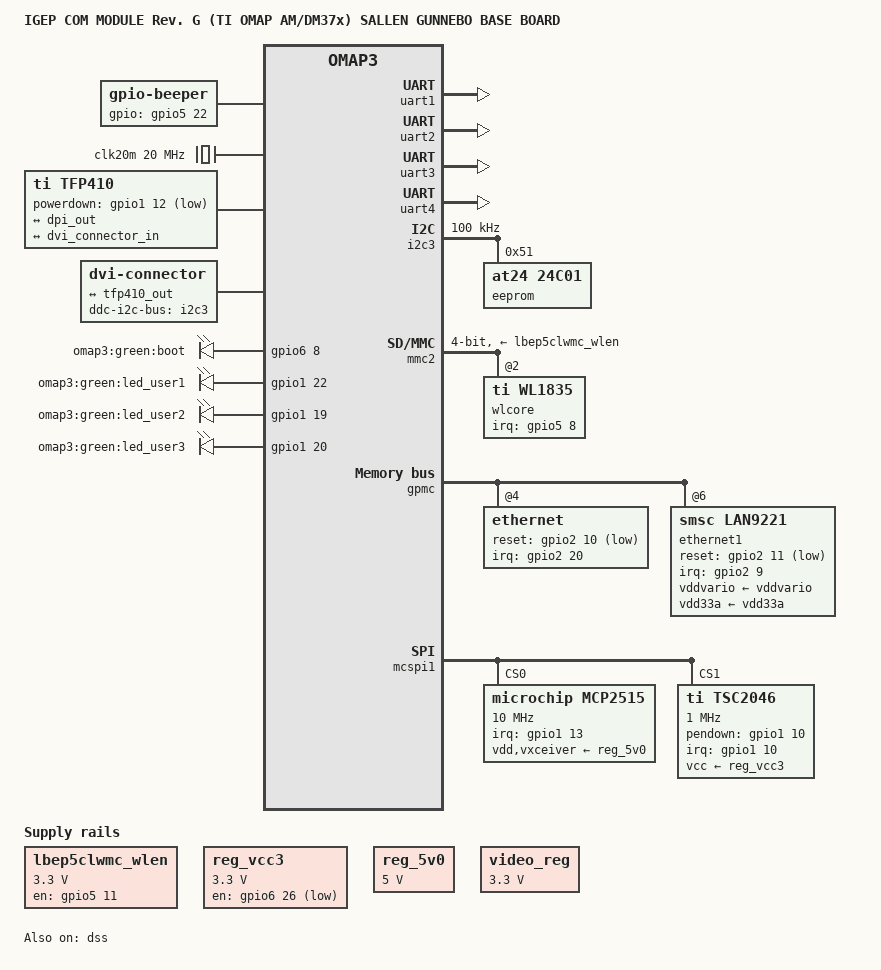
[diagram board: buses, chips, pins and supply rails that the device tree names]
/*
 * Device Tree Source for IGEP COM MODULE Rev. G (TI OMAP AM/DM37x) with SALLEN GUNNEBO BASE BOARD
 *
 * Copyright (C) 2019 Jose Miguel Sanchez Sanabria <jsanabria@iseebcn.com>
 *
 * This program is free software; you can redistribute it and/or modify
 * it under the terms of the GNU General Public License version 2 as
 * published by the Free Software Foundation.
 */

#include "omap3-igep0030-common.dtsi"
#include "omap-gpmc-smsc9221.dtsi"


/ {
	model = "IGEP COM MODULE Rev. G (TI OMAP AM/DM37x) SALLEN GUNNEBO BASE BOARD";
	compatible = "isee,omap3-igep0030-rev-g", "ti,omap36xx", "ti,omap3";

	/* Regulator to trigger the WL_EN signal of the Wifi module */
	lbep5clwmc_wlen: regulator-lbep5clwmc-wlen {
		compatible = "regulator-fixed";
		regulator-name = "WIFI_WL_EN";
		regulator-min-microvolt = <3300000>;
		regulator-max-microvolt = <3300000>;
		gpio = <&gpio5 11 GPIO_ACTIVE_HIGH>;		/* gpio_139 - WL_EN */
		enable-active-high;
	};

	reg_vcc3: vcc3 {
		compatible = "regulator-fixed";
		regulator-name = "3V3_LCD_EN";
		regulator-min-microvolt = <3300000>;
		regulator-max-microvolt = <3300000>;
		gpio = <&gpio6 26 GPIO_ACTIVE_LOW>;		/* gpio_186 - LCD_EN */
		regulator-always-on;
	};


	reg_5v0: vcc5 {
		compatible = "regulator-fixed";
		regulator-name = "5V";
		regulator-min-microvolt = <5000000>;
		regulator-max-microvolt = <5000000>;
	};


	video_reg: video_reg {
		compatible = "regulator-fixed";
		regulator-name = "fixed-supply";
		regulator-min-microvolt = <3300000>;
		regulator-max-microvolt = <3300000>;
	};

	beeper: beeper {
		/* 4KHz Piezoelectric buzzer */
		compatible = "gpio-beeper";
		pinctrl-0 = <&pmxbeeper_pins>;
		pinctrl-names = "default";
		gpios = <&gpio5 22 GPIO_ACTIVE_HIGH>;	/* gpio_150 - BUZZER_ON */
	};

	clk20m: clk20m {
		compatible = "fixed-clock";
		#clock-cells = <0>;
		clock-frequency = <20000000>;
	};

	tfp410: encoder {
		compatible = "ti,tfp410";
		pinctrl-0 = <&tfp410_pins>;
		powerdown-gpios = <&gpio1 12 GPIO_ACTIVE_LOW>; /* gpio_12 - DVI_PUP */

		ports {
			#address-cells = <1>;
			#size-cells = <0>;

			port@0 {
				reg = <0>;

				tfp410_in: endpoint {
					remote-endpoint = <&dpi_out>;
				};
			};

			port@1 {
				reg = <1>;

				tfp410_out: endpoint {
					remote-endpoint = <&dvi_connector_in>;
				};
			};
		};
	};

	dvi0: connector {
		compatible = "dvi-connector";
		label = "dvi";

		digital;

		ddc-i2c-bus = <&i2c3>;

		port {
			dvi_connector_in: endpoint {
				remote-endpoint = <&tfp410_out>;
			};
		};
	};


};

&omap3_pmx_core {
	pinctrl-names = "default";
	pinctrl-0 = <
		&dssdpi_pins
		&canreset_pins
		&lcdenable_pins
		&debug1_pins
		&dinput1_pins
	>;

	dssdpi_pins: pinmux_dssdpi_pins {
		pinctrl-single,pins = <
			OMAP3_CORE1_IOPAD(0x20d4, PIN_OUTPUT | MUX_MODE0)   /* dss_pclk.dss_pclk */
			OMAP3_CORE1_IOPAD(0x20d6, PIN_OUTPUT | MUX_MODE0)   /* dss_hsync.dss_hsync */
			OMAP3_CORE1_IOPAD(0x20d8, PIN_OUTPUT | MUX_MODE0)   /* dss_vsync.dss_vsync */
			OMAP3_CORE1_IOPAD(0x20da, PIN_OUTPUT | MUX_MODE0)   /* dss_acbias.dss_acbias */
			OMAP3_CORE1_IOPAD(0x20dc, PIN_OUTPUT | MUX_MODE0)   /* dss_data0.dss_data0 */
			OMAP3_CORE1_IOPAD(0x20de, PIN_OUTPUT | MUX_MODE0)   /* dss_data1.dss_data1 */
			OMAP3_CORE1_IOPAD(0x20e0, PIN_OUTPUT | MUX_MODE0)   /* dss_data2.dss_data2 */
			OMAP3_CORE1_IOPAD(0x20e2, PIN_OUTPUT | MUX_MODE0)   /* dss_data3.dss_data3 */
			OMAP3_CORE1_IOPAD(0x20e4, PIN_OUTPUT | MUX_MODE0)   /* dss_data4.dss_data4 */
			OMAP3_CORE1_IOPAD(0x20e6, PIN_OUTPUT | MUX_MODE0)   /* dss_data5.dss_data5 */
			OMAP3_CORE1_IOPAD(0x20e8, PIN_OUTPUT | MUX_MODE0)   /* dss_data6.dss_data6 */
			OMAP3_CORE1_IOPAD(0x20ea, PIN_OUTPUT | MUX_MODE0)   /* dss_data7.dss_data7 */
			OMAP3_CORE1_IOPAD(0x20ec, PIN_OUTPUT | MUX_MODE0)   /* dss_data8.dss_data8 */
			OMAP3_CORE1_IOPAD(0x20ee, PIN_OUTPUT | MUX_MODE0)   /* dss_data9.dss_data9 */
			OMAP3_CORE1_IOPAD(0x20f0, PIN_OUTPUT | MUX_MODE0)   /* dss_data10.dss_data10 */
			OMAP3_CORE1_IOPAD(0x20f2, PIN_OUTPUT | MUX_MODE0)   /* dss_data11.dss_data11 */
			OMAP3_CORE1_IOPAD(0x20f4, PIN_OUTPUT | MUX_MODE0)   /* dss_data12.dss_data12 */
			OMAP3_CORE1_IOPAD(0x20f6, PIN_OUTPUT | MUX_MODE0)   /* dss_data13.dss_data13 */
			OMAP3_CORE1_IOPAD(0x20f8, PIN_OUTPUT | MUX_MODE0)   /* dss_data14.dss_data14 */
			OMAP3_CORE1_IOPAD(0x20fa, PIN_OUTPUT | MUX_MODE0)   /* dss_data15.dss_data15 */
			OMAP3_CORE1_IOPAD(0x20fc, PIN_OUTPUT | MUX_MODE0)   /* dss_data16.dss_data16 */
			OMAP3_CORE1_IOPAD(0x20fe, PIN_OUTPUT | MUX_MODE0)   /* dss_data17.dss_data17 */
			OMAP3_CORE1_IOPAD(0x2100, PIN_OUTPUT | MUX_MODE0)   /* dss_data18.dss_data18 */
			OMAP3_CORE1_IOPAD(0x2102, PIN_OUTPUT | MUX_MODE0)   /* dss_data19.dss_data19 */
			OMAP3_CORE1_IOPAD(0x2104, PIN_OUTPUT | MUX_MODE0)   /* dss_data20.dss_data20 */
			OMAP3_CORE1_IOPAD(0x2106, PIN_OUTPUT | MUX_MODE0)   /* dss_data21.dss_data21 */
			OMAP3_CORE1_IOPAD(0x2108, PIN_OUTPUT | MUX_MODE0)   /* dss_data22.dss_data22 */
			OMAP3_CORE1_IOPAD(0x210a, PIN_OUTPUT | MUX_MODE0)   /* dss_data23.dss_data23 */
		>;
	};

	lbep5clwmc_pins: pinmux_lbep5clwmc_pins {
		pinctrl-single,pins = <
			OMAP3_CORE1_IOPAD(0x2164, PIN_INPUT | MUX_MODE4)	/* sdmmc2_dat4.gpio_136 - W_IRQ */
			OMAP3_CORE1_IOPAD(0x2166, PIN_OUTPUT | MUX_MODE4)	/* sdmmc2_dat5.gpio_137 - BT_EN */
			OMAP3_CORE1_IOPAD(0x216a, PIN_OUTPUT | MUX_MODE4)	/* sdmmc2_dat7.gpio_139 - WL_EN */
		>;
	};

	canreset_pins: pinmux_canreset_pins {
		pinctrl-single,pins = <
			OMAP3_CORE1_IOPAD(0x20c8, PIN_OUTPUT_PULLDOWN | MUX_MODE4)	/* gpmc_nbe1.gpio_61 - CAN_RESET */
		>;
	};

	lcdenable_pins: pinmux_lcdenable_pins {
		pinctrl-single,pins = <
			OMAP3_CORE1_IOPAD(0x21e2, PIN_OUTPUT_PULLDOWN | MUX_MODE4)	/* sys_clkout2.gpio_186 - LCD_EN */
		>;
	};

	debug1_pins: pinmux_debug1_pins {
		pinctrl-single,pins = <
			OMAP3_CORE1_IOPAD(0x219c, PIN_INPUT_PULLUP | MUX_MODE4)   /* uart3_rts_sd.gpio_164 - DEBUG_1 */
		>;
	};

	dinput1_pins: pinmux_dinput1_pins {
		pinctrl-single,pins = <
			OMAP3_CORE1_IOPAD(0x20b2, PIN_INPUT_PULLUP | MUX_MODE4)   /* gpmc_ncs2.gpio_53 - DINTPUT1_1V8 */
			OMAP3_CORE1_IOPAD(0x217e, PIN_INPUT_PULLUP | MUX_MODE4)   /* uart1_rts.gpio_149 - DINTPUT3_1V8 */
		>;
	};


	pmxbeeper_pins: pinmux_pmx_beeper_pins {
		pinctrl-single,pins = <
			OMAP3_CORE1_IOPAD(0x2180, PIN_OUTPUT | MUX_MODE4)		/* uart1_cts.gpio_150 - BUZZER_ON*/
		>;
	};

	leds_pins: pinmux_leds_pins {
		pinctrl-single,pins = <
			OMAP3_CORE1_IOPAD(0x21be, PIN_OUTPUT | MUX_MODE4)	/* i2c2_scl.gpio_168 */
		>;
	};

	smsc9221_pins: pinmux_smsc9221_pins {
		pinctrl-single,pins = <
			OMAP3_CORE1_IOPAD(0x20b0, PIN_INPUT_PULLUP | MUX_MODE4)		/* gpmc_ncs1.gpio_52 - ENET0_IRQ */
			OMAP3_CORE1_IOPAD(0x208a, PIN_OUTPUT_PULLUP | MUX_MODE4)	/* gpmc_a9.gpio_42 - ENET0_nRESET */
		>;
	};

	smsc9221two_pins: pinmux_smsc9221two_pins {
		pinctrl-single,pins = <
			OMAP3_CORE1_IOPAD(0x2088, PIN_INPUT_PULLUP | MUX_MODE4)		/* gpmc_a8.gpio_41 - ENET1_IRQ */
			OMAP3_CORE1_IOPAD(0x208c, PIN_OUTPUT_PULLUP | MUX_MODE4)	/* gpmc_a10.gpio_43 - ENET1_nRESET */
		>;
	};

	uart4_pins: pinmux_uart4_pins {
		pinctrl-single,pins = <
			OMAP3_CORE1_IOPAD(0x20d0, PIN_OUTPUT | MUX_MODE2)	/* gpmc_wait2.uart4_tx */
			OMAP3_CORE1_IOPAD(0x20d2, PIN_INPUT | MUX_MODE2)	/* gpmc_wait3.uart4_rx */
		>;
	};

	mcspi1_pins: pinmux_mcpsi1_pins {
		pinctrl-single,pins = <
			OMAP3_CORE1_IOPAD(0x21c8, PIN_INPUT | MUX_MODE0)	/* mcspi1_clk.mcspi1_clk */
			OMAP3_CORE1_IOPAD(0x21ca, PIN_INPUT | MUX_MODE0)	/* mcspi1_clk.mcspi1_simo */
			OMAP3_CORE1_IOPAD(0x21cc, PIN_INPUT | MUX_MODE0)	/* mcspi1_somi.mcspi1_somi */
			OMAP3_CORE1_IOPAD(0x21ce, PIN_INPUT | MUX_MODE0)	/* mcspi1_cs0.mcspi1_cs0 */
			OMAP3_CORE1_IOPAD(0x21d0, PIN_INPUT | MUX_MODE0)	/* mcspi1_cs1.mcspi1_cs1 */
		>;
	};
};

&omap3_pmx_wkup {
	pinctrl-names = "default";
	tsc2046_pins: pinmux_tsc2046_pins {
		pinctrl-single,pins = <
			OMAP3_WKUP_IOPAD(0x2a16, PIN_INPUT_PULLUP | MUX_MODE4)   /* sys_off_mode.gpio_10 - TOUCH_n_PEN_IRQ*/
		>;
	};
};

&omap3_pmx_core2 {
	pinctrl-names = "default";
	pinctrl-0 = <
		&debug2_pins
		&dinput2_pins
		&doutput2_pins
	>;
	
	mcp2515_pins: pinmux_mcp2515_pins {
		pinctrl-single,pins = <
			OMAP3630_CORE2_IOPAD(0x25da, PIN_INPUT_PULLUP | MUX_MODE4)	/* etk_clk.gpio_13 - CAN_IRQ */
		>;
	};
	
	leds2gunnebo_pins: pinmux_leds2gunnebo_pins {
		pinctrl-single,pins = <
			OMAP3630_CORE2_IOPAD(0x25ec, PIN_OUTPUT_PULLUP | MUX_MODE4)	/* etk_d8.gpio_22 - LED_USER1 */
			OMAP3630_CORE2_IOPAD(0x25e6, PIN_OUTPUT_PULLUP | MUX_MODE4)	/* etk_d5.gpio_19 - LED_USER2 */
			OMAP3630_CORE2_IOPAD(0x25e8, PIN_OUTPUT_PULLUP | MUX_MODE4)	/* etk_d6.gpio_20 - LED_USER3 */
		>;
	};

	tfp410_pins: pinmux_tfp410_pins {
		pinctrl-single,pins = <
			OMAP3630_CORE2_IOPAD(0x25d8, PIN_OUTPUT_PULLUP | MUX_MODE4)	/* etk_clk.gpio_12 - DVI_PUP */
		>;
	};

	debug2_pins: pinmux_debug2_pins {
		pinctrl-single,pins = <
			OMAP3630_CORE2_IOPAD(0x25de, PIN_INPUT_PULLUP | MUX_MODE4)   /* etk_d1.gpio_15 - DEBUG_2 */
		>;
	};

	dinput2_pins: pinmux_dinput2_pins {
		pinctrl-single,pins = <
			OMAP3630_CORE2_IOPAD(0x25e4, PIN_INPUT_PULLUP | MUX_MODE4)   /* etk_d4.gpio_18 - DINTPUT2_1V8 */
		>;
	};

	doutput2_pins: pinmux_doutput2_pins {
		pinctrl-single,pins = <
			OMAP3630_CORE2_IOPAD(0x25dc, PIN_OUTPUT | MUX_MODE4)	/* etk_d0.gpio_14 - DOUTPUT1_1V8 */
			OMAP3630_CORE2_IOPAD(0x25ea, PIN_OUTPUT | MUX_MODE4)	/* etk_d7.gpio_21 - DOUTPUT2_1V8 */
			OMAP3630_CORE2_IOPAD(0x25e2, PIN_OUTPUT | MUX_MODE4)	/* etk_d3.gpio_17 - DOUTPUT3_1V8 */
		>;
	};
};

&uart1 {
	pinctrl-names = "default";
	pinctrl-0 = <&uart1_pins>;
	status = "ok";
};

&uart2 {
	pinctrl-names = "default";
	pinctrl-0 = <&uart2_pins>;
	status = "ok";
};

&uart3 {
	pinctrl-names = "default";
	pinctrl-0 = <&uart3_pins>;
	status = "ok";
};

&uart4 {
	pinctrl-names = "default";
	pinctrl-0 = <&uart4_pins>;
	status = "ok";
};

&i2c2 {
	status = "disabled";
};

&i2c3 {
	clock-frequency = <100000>;

	/*
	 * Display monitor features are burnt in the EEPROM
	 * as EDID data.
	 */
	eeprom@51 {
		compatible = "at24,24c01";
		reg = <0x51>;
		pagesize = <8>;
	};
};

&leds {
	pinctrl-names = "default";
	pinctrl-0 = <&leds_pins &leds2_pins &leds2gunnebo_pins>;

	boot {
		label = "omap3:green:boot";
		gpios = <&gpio6 8 GPIO_ACTIVE_HIGH>;
		default-state = "on";
	};
	led_user1 {
		label = "omap3:green:led_user1";
		gpios = <&gpio1 22 GPIO_ACTIVE_HIGH>;
		default-state = "off";
	};
	led_user2 {
		label = "omap3:green:led_user2";
		gpios = <&gpio1 19 GPIO_ACTIVE_HIGH>;
		default-state = "off";
	};
	led_user3 {
		label = "omap3:green:led_user3";
		gpios = <&gpio1 20 GPIO_ACTIVE_HIGH>;
		default-state = "off";
	};
};

&mmc2 {
	pinctrl-names = "default";
	pinctrl-0 = <&mmc2_pins &lbep5clwmc_pins>;
	vmmc-supply = <&lbep5clwmc_wlen>;
	bus-width = <4>;
	ti,non-removable;
	ti,needs-special-hs-handling;
	cap-power-off-card;
	keep-power-in-suspend;
	#dma-cells = <2>;
	#address-cells = <1>;
	#size-cells = <0>;
	wlcore: wlcore@2 {
		compatible = "ti,wl1835";
		reg = <2>;
		interrupt-parent = <&gpio5>;
		interrupts = <8 IRQ_TYPE_LEVEL_HIGH>; /* gpio 136 */
	};
};

&gpmc {
	ranges =  <4 0 0x2b000000 0x01000000>,	/* CS4: 16MB for ethernet 0*/
			  <6 0 0x2d000000 0x01000000>,	/* CS6: 16MB for ethernet 1*/
			  <0 0 0x30000000 0x01000000>;	/* CS0: 16MB for NAND */
	ethernet@gpmc {
		reg = <4 0 0xff>;
		pinctrl-names = "default";
		pinctrl-0 = <&smsc9221_pins>;
		interrupt-parent = <&gpio2>;
		interrupts = <20 IRQ_TYPE_LEVEL_LOW>;
		reset-gpios = <&gpio2 10 GPIO_ACTIVE_LOW>;
	};
	ethernet1@6,0 {
		reg = <6 0 0xff>;
		compatible = "smsc,lan9221","smsc,lan9115";
		pinctrl-names = "default";
		pinctrl-0 = <&smsc9221two_pins>;

		bank-width = <2>;
		gpmc,mux-add-data;
		gpmc,cs-on-ns = <0>;
		gpmc,cs-rd-off-ns = <42>;
		gpmc,cs-wr-off-ns = <36>;
		gpmc,adv-on-ns = <6>;
		gpmc,adv-rd-off-ns = <12>;
		gpmc,adv-wr-off-ns = <12>;
		gpmc,oe-on-ns = <0>;
		gpmc,oe-off-ns = <42>;
		gpmc,we-on-ns = <0>;
		gpmc,we-off-ns = <36>;
		gpmc,rd-cycle-ns = <60>;
		gpmc,wr-cycle-ns = <54>;
		gpmc,access-ns = <36>;
		gpmc,page-burst-access-ns = <0>;
		gpmc,bus-turnaround-ns = <0>;
		gpmc,cycle2cycle-delay-ns = <0>;
		gpmc,wr-data-mux-bus-ns = <18>;
		gpmc,wr-access-ns = <42>;
		gpmc,cycle2cycle-samecsen;
		gpmc,cycle2cycle-diffcsen;
		vddvario-supply = <&vddvario>;
		vdd33a-supply = <&vdd33a>;
		reg-io-width = <4>;
		smsc,save-mac-address;

		interrupt-parent = <&gpio2>;
		interrupts = <9 0x2>;
		reset-gpios = <&gpio2 11 GPIO_ACTIVE_LOW>;
	};
};

&mcspi1 {
	pinctrl-names = "default";
	pinctrl-0 = <&mcspi1_pins>;

	/* can interface with mcp2515 chip */
	mcp2515@0 {
		reg = <0>;    /* CS0 */
		compatible = "microchip,mcp2515";
		clocks = <&clk20m>;
		spi-max-frequency = <10000000>;
		vdd-supply = <&reg_5v0>;
		vxceiver-supply = <&reg_5v0>;
		interrupt-parent = <&gpio1>;
		interrupts = <13 0x2>;
		pinctrl-names = "default";
		pinctrl-0 = <&mcp2515_pins>;

	};

	/* touch controller interface with tsc2046 chip */
	tsc2046@1 {
		reg = <1>;   /* CS1 */
		compatible = "ti,tsc2046";
		interrupt-parent = <&gpio1>;
		interrupts = <10 0x2>;   /* gpio_10 */
		spi-max-frequency = <1000000>;
		pendown-gpio = <&gpio1 10 GPIO_ACTIVE_HIGH>;
		vcc-supply = <&reg_vcc3>;
		pinctrl-names = "default";
		pinctrl-0 = <&tsc2046_pins>;

		ti,x-min = /bits/ 16 <300>;
		ti,x-max = /bits/ 16 <3000>;
		ti,y-min = /bits/ 16 <600>;
		ti,y-max = /bits/ 16 <3600>;
		ti,x-plate-ohms = /bits/ 16 <80>;
		ti,pressure-max = /bits/ 16 <255>;
		ti,swap-xy;

		wakeup-source;
	};
};


&vpll2 {
	/* Needed for DSS */
	regulator-name = "vdds_dsi";
};

&dss {
	status = "ok";
	vdds_dsi-supply = <&vpll2>;
	vdda_video-supply = <&video_reg>;

	port {
		dpi_out: endpoint {
			remote-endpoint = <&tfp410_in>;
			data-lines = <24>;
		};
	};
};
